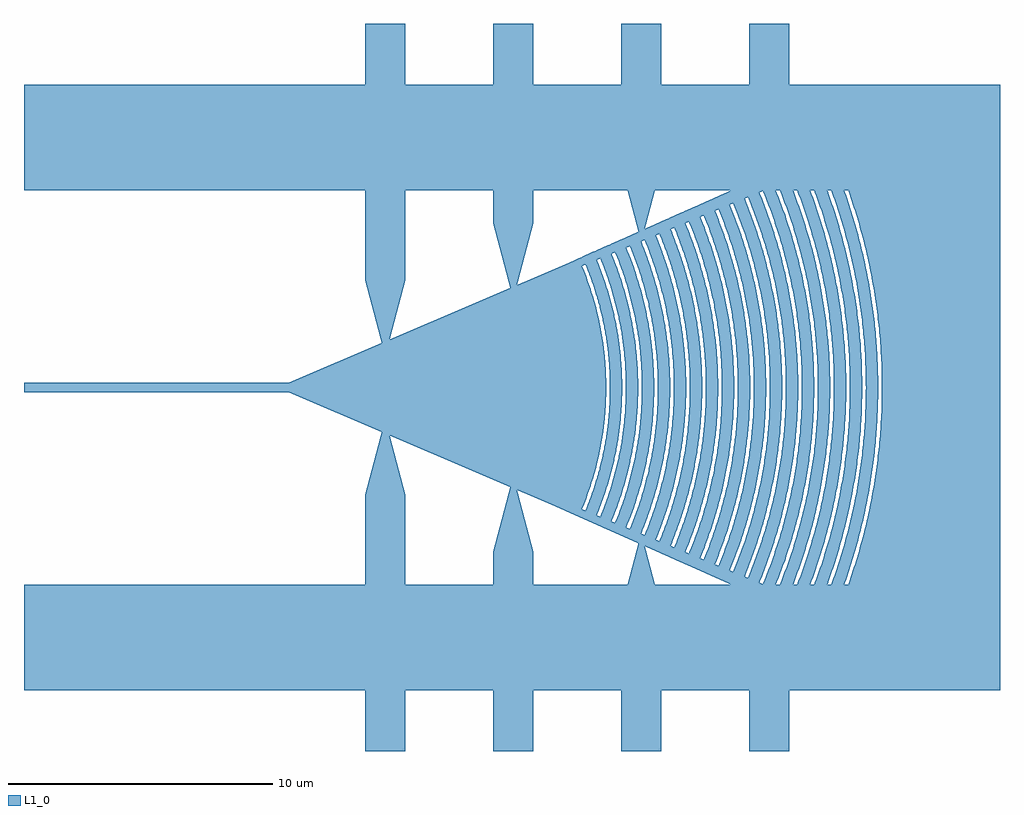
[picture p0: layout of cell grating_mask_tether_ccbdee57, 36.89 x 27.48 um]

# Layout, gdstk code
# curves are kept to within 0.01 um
import gdstk
lib = gdstk.Library(unit=1e-6, precision=2e-09)
def R(c, l, rs):  # rectangles x0, y0, x1, y1
    for r in rs: c.add(gdstk.rectangle(r[:2], r[2:], *l))
def P(c, l, *ps):  # polygons
    for p in ps: c.add(gdstk.Polygon(p, *l))
L1_0 = (1, 0)

boolean_2d772ac7 = lib.new_cell('boolean_2d772ac7')
P(boolean_2d772ac7, L1_0, [(17.126,-7.388),(17.528,-6.38),(17.806,-5.558),(18.072,-4.618),(18.31,-3.558),(18.456,-2.704),(18.582,-1.626),(18.648,-0.434),(18.648,0.434),(18.582,1.626),(18.456,2.704),(18.35,3.346),(18.222,3.984),(17.96,5.036),(17.74,5.764),(17.528,6.38),(17.1,7.446),(16.726,7.446),(16.62,7.4),(16.984,6.52),(17.27,5.722),(17.546,4.81),(17.796,3.782),(17.952,2.95),(18.058,2.218),(18.156,1.164),(18.188,0.424),(18.182,-0.634),(18.124,-1.586),(18.016,-2.532),(17.838,-3.576),(17.6,-4.606),(17.334,-5.522),(16.984,-6.52),(16.62,-7.4),(16.726,-7.446),(17.1,-7.446)],
  [(17.77,-7.42),(18.096,-6.586),(18.416,-5.63),(18.658,-4.768),(18.904,-3.674),(19.07,-2.68),(19.194,-1.566),(19.252,-0.448),(19.246,0.672),(19.218,1.232),(19.152,2.012),(19.002,3.124),(18.904,3.674),(18.764,4.332),(18.48,5.416),(18.134,6.48),(17.758,7.446),(17.26,7.446),(17.588,6.634),(17.878,5.808),(18.128,4.97),(18.364,4.016),(18.512,3.264),(18.658,2.29),(18.744,1.42),(18.79,0.546),(18.79,-0.546),(18.744,-1.42),(18.63,-2.508),(18.452,-3.586),(18.24,-4.548),(17.944,-5.6),(17.664,-6.43),(17.26,-7.446),(17.758,-7.446)],
  [(18.416,-7.44),(18.742,-6.576),(19.06,-5.586),(19.3,-4.692),(19.54,-3.562),(19.7,-2.536),(19.814,-1.386),(19.854,-0.578),(19.854,0.578),(19.776,1.846),(19.7,2.536),(19.618,3.108),(19.404,4.242),(19.124,5.364),(18.78,6.466),(18.416,7.44),(17.916,7.446),(18.194,6.742),(18.522,5.78),(18.798,4.804),(19.002,3.924),(19.146,3.146),(19.258,2.364),(19.338,1.578),(19.394,0.564),(19.4,-0.338),(19.338,-1.578),(19.244,-2.476),(19.088,-3.48),(18.88,-4.474),(18.682,-5.24),(18.346,-6.316),(18.114,-6.954),(17.916,-7.446)],
  [(19.064,-7.446),(19.352,-6.664),(19.674,-5.642),(19.942,-4.604),(20.156,-3.554),(20.314,-2.494),(20.408,-1.546),(20.464,-0.358),(20.458,0.596),(20.398,1.666),(20.268,2.848),(20.156,3.554),(20.02,4.256),(19.738,5.412),(19.428,6.438),(19.064,7.446),(18.57,7.446),(18.84,6.734),(19.2,5.626),(19.44,4.728),(19.594,4.046),(19.742,3.244),(19.872,2.322),(19.95,1.512),(20.002,0.466),(20.002,-0.466),(19.95,-1.512),(19.844,-2.554),(19.662,-3.704),(19.468,-4.614),(19.2,-5.626),(18.84,-6.734),(18.57,-7.446)],
  [(19.716,-7.436),(20.078,-6.394),(20.354,-5.454),(20.636,-4.26),(20.812,-3.296),(20.956,-2.202),(21.036,-1.226),(21.07,-0.246),(21.054,0.858),(21.02,1.47),(20.956,2.202),(20.812,3.296),(20.636,4.26),(20.504,4.86),(20.322,5.572),(20.04,6.512),(19.712,7.446),(19.22,7.446),(19.528,6.598),(19.814,5.682),(20,4.986),(20.21,4.05),(20.358,3.224),(20.486,2.274),(20.562,1.438),(20.606,0.48),(20.606,-0.48),(20.544,-1.676),(20.428,-2.75),(20.278,-3.698),(20.084,-4.636),(19.814,-5.682),(19.528,-6.598),(19.22,-7.446)],
  [(20.368,-7.414),(20.692,-6.458),(21.002,-5.366),(21.254,-4.26),(21.428,-3.266),(21.558,-2.266),(21.64,-1.26),(21.676,-0.126),(21.658,0.882),(21.624,1.512),(21.558,2.266),(21.428,3.266),(21.254,4.26),(21.092,4.998),(20.938,5.61),(20.654,6.578),(20.356,7.446),(19.866,7.446),(20.14,6.674),(20.428,5.73),(20.616,5.012),(20.802,4.17),(20.956,3.318),(21.058,2.586),(21.156,1.604),(21.204,0.74),(21.214,-0.37),(21.188,-1.11),(21.1,-2.218),(20.956,-3.318),(20.778,-4.29),(20.494,-5.492),(20.216,-6.438),(19.866,-7.446),(20.356,-7.446)],
  [(21.024,-7.376),(21.382,-6.266),(21.65,-5.264),(21.872,-4.252),(22.046,-3.23),(22.172,-2.2),(22.25,-1.166),(22.278,-0.388),(22.272,0.648),(22.196,1.942),(22.046,3.23),(21.92,3.996),(21.794,4.632),(21.522,5.766),(21.23,6.762),(21,7.446),(20.51,7.446),(20.714,6.864),(20.976,6.014),(21.204,5.156),(21.396,4.288),(21.572,3.288),(21.674,2.534),(21.768,1.522),(21.808,0.762),(21.82,-0.254),(21.792,-1.142),(21.702,-2.28),(21.572,-3.288),(21.396,-4.288),(21.142,-5.402),(20.868,-6.38),(20.51,-7.446),(21,-7.446)],
  [(21.162,7.424),(21.484,6.432),(21.728,5.552),(21.936,4.662),(22.108,3.766),(22.226,2.992),(22.352,1.824),(22.408,0.912),(22.426,-0.13),(22.408,-0.912),(22.352,-1.824),(22.226,-2.992),(22.086,-3.894),(21.88,-4.918),(21.662,-5.804),(21.408,-6.682),(21.154,-7.446),(22.886,-7.446),(22.886,7.446),(21.154,7.446)],
  [(16.53,-7.244),(16.886,-6.37),(17.196,-5.478),(17.46,-4.57),(17.654,-3.752),(17.826,-2.824),(17.96,-1.782),(18.028,-0.84),(18.048,0.106),(18.004,1.258),(17.938,1.99),(17.826,2.824),(17.654,3.752),(17.46,4.57),(17.132,5.676),(16.886,6.37),(16.488,7.34),(16.068,7.154),(16.42,6.302),(16.728,5.434),(16.962,4.65),(17.204,3.656),(17.372,2.752),(17.492,1.838),(17.564,0.92),(17.588,0.102),(17.564,-0.92),(17.492,-1.838),(17.372,-2.752),(17.204,-3.656),(16.962,-4.65),(16.728,-5.434),(16.42,-6.302),(16.068,-7.154),(16.488,-7.34)],
  [(15.976,-7.002),(16.32,-6.156),(16.62,-5.294),(16.9,-4.318),(17.082,-3.528),(17.244,-2.628),(17.368,-1.622),(17.424,-0.812),(17.442,0.202),(17.414,1.014),(17.348,1.824),(17.244,2.628),(17.062,3.626),(16.822,4.612),(16.558,5.486),(16.248,6.346),(15.934,7.094),(15.514,6.908),(15.856,6.086),(16.122,5.342),(16.326,4.682),(16.592,3.628),(16.726,2.95),(16.88,1.874),(16.96,0.888),(16.984,0),(16.96,-0.888),(16.88,-1.874),(16.726,-2.95),(16.592,-3.628),(16.326,-4.682),(16.122,-5.342),(15.856,-6.086),(15.514,-6.908),(15.934,-7.094)],
  [(15.422,-6.76),(15.72,-6.034),(16.074,-5.016),(16.29,-4.264),(16.51,-3.308),(16.646,-2.538),(16.766,-1.566),(16.82,-0.784),(16.838,0.098),(16.81,0.98),(16.736,1.858),(16.616,2.73),(16.45,3.596),(16.29,4.264),(15.984,5.296),(15.72,6.034),(15.382,6.848),(14.962,6.662),(15.222,6.048),(15.576,5.062),(15.796,4.332),(15.98,3.592),(16.13,2.844),(16.268,1.902),(16.332,1.238),(16.378,0.19),(16.372,-0.476),(16.308,-1.522),(16.22,-2.28),(16.06,-3.218),(15.892,-3.962),(15.606,-4.97),(15.358,-5.692),(14.962,-6.662),(15.382,-6.848)],
  [(14.868,-6.516),(15.222,-5.64),(15.468,-4.926),(15.752,-3.928),(15.898,-3.282),(16.034,-2.54),(16.154,-1.602),(16.216,-0.756),(16.234,0),(16.216,0.756),(16.154,1.602),(16.034,2.54),(15.898,3.282),(15.752,3.928),(15.468,4.926),(15.188,5.73),(14.83,6.602),(14.41,6.416),(14.66,5.824),(15.002,4.874),(15.212,4.172),(15.41,3.37),(15.55,2.648),(15.668,1.832),(15.742,1.008),(15.774,0.092),(15.752,-0.826),(15.688,-1.648),(15.58,-2.468),(15.448,-3.19),(15.306,-3.816),(15.058,-4.7),(14.726,-5.652),(14.41,-6.416),(14.83,-6.602)],
  [(14.314,-6.274),(14.558,-5.686),(14.892,-4.742),(15.12,-3.958),(15.324,-3.072),(15.464,-2.266),(15.552,-1.544),(15.612,-0.728),(15.628,0.182),(15.608,0.818),(15.534,1.724),(15.422,2.534),(15.268,3.338),(15.12,3.958),(14.836,4.916),(14.558,5.686),(14.278,6.356),(13.858,6.17),(14.162,5.436),(14.4,4.772),(14.606,4.096),(14.838,3.154),(14.996,2.286),(15.086,1.586),(15.144,0.882),(15.168,0.176),(15.16,-0.53),(15.104,-1.41),(14.996,-2.286),(14.856,-3.068),(14.652,-3.926),(14.4,-4.772),(14.162,-5.436),(13.858,-6.17),(14.278,-6.356)],
  [(13.76,-6.03),(14.026,-5.384),(14.316,-4.56),(14.556,-3.72),(14.714,-3.038),(14.866,-2.178),(14.942,-1.57),(15.004,-0.786),(15.024,0.088),(15.004,0.786),(14.942,1.57),(14.866,2.178),(14.678,3.208),(14.466,4.058),(14.262,4.726),(14.026,5.384),(13.724,6.11),(13.306,5.924),(13.628,5.14),(13.852,4.5),(14.046,3.852),(14.21,3.194),(14.358,2.446),(14.476,1.606),(14.54,0.846),(14.564,0.17),(14.556,-0.508),(14.502,-1.354),(14.398,-2.194),(14.264,-2.946),(14.09,-3.688),(13.878,-4.42),(13.628,-5.14),(13.306,-5.924),(13.724,-6.11)],
  [(13.206,-5.788),(13.462,-5.168),(13.714,-4.456),(13.95,-3.65),(14.122,-2.916),(14.242,-2.256),(14.34,-1.508),(14.404,-0.67),(14.418,0.168),(14.4,0.754),(14.34,1.508),(14.242,2.256),(14.122,2.916),(13.95,3.65),(13.714,4.456),(13.432,5.246),(13.172,5.864),(12.752,5.678),(12.974,5.154),(13.226,4.468),(13.462,3.692),(13.638,2.982),(13.788,2.184),(13.884,1.46),(13.936,0.812),(13.96,0.082),(13.944,-0.65),(13.884,-1.46),(13.788,-2.184),(13.672,-2.822),(13.484,-3.612),(13.302,-4.236),(13.062,-4.926),(12.752,-5.678),(13.172,-5.864)],
  [(12.652,-5.546),(12.926,-4.876),(13.114,-4.346),(13.344,-3.576),(13.528,-2.794),(13.68,-1.922),(13.762,-1.204),(13.8,-0.642),(13.814,0.16),(13.786,0.884),(13.712,1.684),(13.632,2.24),(13.496,2.95),(13.344,3.576),(13.114,4.346),(12.868,5.026),(12.62,5.618),(12.2,5.432),(12.496,4.714),(12.702,4.126),(12.88,3.532),(13.03,2.928),(13.166,2.242),(13.256,1.628),(13.328,0.854),(13.354,0.156),(13.344,-0.544),(13.304,-1.164),(13.236,-1.782),(13.11,-2.548),(12.92,-3.382),(12.702,-4.126),(12.496,-4.714),(12.2,-5.432),(12.62,-5.618)],
  [(12.098,-5.302),(12.36,-4.662),(12.564,-4.082),(12.818,-3.196),(12.952,-2.596),(13.07,-1.914),(13.138,-1.38),(13.196,-0.614),(13.21,0.076),(13.188,0.768),(13.138,1.38),(13.022,2.218),(12.904,2.822),(12.74,3.494),(12.54,4.156),(12.36,4.662),(12.068,5.372),(11.648,5.186),(11.904,4.57),(12.126,3.94),(12.316,3.3),(12.456,2.724),(12.582,2.068),(12.664,1.48),(12.724,0.816),(12.75,0.148),(12.74,-0.52),(12.702,-1.112),(12.616,-1.848),(12.502,-2.506),(12.354,-3.156),(12.172,-3.798),(11.904,-4.57),(11.648,-5.186),(12.068,-5.372)],
  [(11.544,-5.06),(11.82,-4.38),(12.076,-3.616),(12.266,-2.906),(12.374,-2.406),(12.472,-1.826),(12.544,-1.244),(12.592,-0.586),(12.604,0.146),(12.584,0.732),(12.52,1.464),(12.45,1.972),(12.33,2.62),(12.176,3.262),(11.988,3.896),(11.742,4.586),(11.516,5.126),(11.096,4.94),(11.314,4.418),(11.55,3.754),(11.732,3.144),(11.88,2.526),(11.996,1.9),(12.072,1.34),(12.116,0.848),(12.146,0.07),(12.136,-0.494),(12.072,-1.34),(11.996,-1.9),(11.88,-2.526),(11.732,-3.144),(11.55,-3.754),(11.314,-4.418),(11.096,-4.94),(11.516,-5.126)],
  [(-10,-0.176),(0,-0.176),(10.964,-4.882),(11.204,-4.3),(11.38,-3.808),(11.564,-3.208),(11.738,-2.496),(11.884,-1.67),(11.944,-1.15),(11.99,-0.524),(12,0.106),(11.978,0.732),(11.912,1.462),(11.836,1.98),(11.738,2.496),(11.564,3.208),(11.38,3.808),(11.204,4.3),(10.964,4.882),(0,0.176),(-10,0.176)])

ring_8f23896b_transform_ = lib.new_cell('ring_8f23896b_transform_af063da4')
P(ring_8f23896b_transform_, L1_0, [(20.906,-8.66),(0,0),(20.906,-9.308)],
  [(20.906,-9.308),(21.144,-8.758),(20.906,-8.66)])

c_ring_8f23896b_transform_ = lib.new_cell('ring_8f23896b_transform_62379c8f')
P(c_ring_8f23896b_transform_, L1_0, [(20.906,8.66),(20.906,9.308),(0,0)],
  [(21.144,8.758),(20.906,9.308),(20.906,8.66)])

c__tether_straight_length_ = lib.new_cell('_tether_straight_length_b0fe350f')
R(c__tether_straight_length_, L1_0, [(2.904,4.056,4.404,13.738)])
P(c__tether_straight_length_, L1_0, [(3.754,1.556),(4.404,4.056),(2.904,4.056),(3.554,1.556)])

c__tether_straight_length__ = lib.new_cell('_tether_straight_length_b050dfc1')
R(c__tether_straight_length__, L1_0, [(2.904,-13.738,4.404,-4.056)])
P(c__tether_straight_length__, L1_0, [(3.554,-1.556),(2.904,-4.056),(4.404,-4.056),(3.754,-1.556)])

c__tether_straight_length___ = lib.new_cell('_tether_straight_length_40aaaef4')
R(c__tether_straight_length___, L1_0, [(7.742,6.21,9.242,13.738)])
P(c__tether_straight_length___, L1_0, [(8.592,3.71),(9.242,6.21),(7.742,6.21),(8.392,3.71)])

c__tether_straight_length____ = lib.new_cell('_tether_straight_length_f74160cb')
R(c__tether_straight_length____, L1_0, [(7.742,-13.738,9.242,-6.21)])
P(c__tether_straight_length____, L1_0, [(8.392,-3.71),(7.742,-6.21),(9.242,-6.21),(8.592,-3.71)])

c__tether_straight_length_____ = lib.new_cell('_tether_straight_length_ef6a8238')
R(c__tether_straight_length_____, L1_0, [(12.578,8.364,14.078,13.738)])
P(c__tether_straight_length_____, L1_0, [(13.428,5.864),(14.078,8.364),(12.578,8.364),(13.228,5.864)])

c__tether_straight_length______ = lib.new_cell('_tether_straight_length_81b69ee8')
R(c__tether_straight_length______, L1_0, [(12.578,-13.738,14.078,-8.364)])
P(c__tether_straight_length______, L1_0, [(13.228,-5.864),(12.578,-8.364),(14.078,-8.364),(13.428,-5.864)])

c__tether_straight_length_______ = lib.new_cell('_tether_straight_length_57ae3556')
R(c__tether_straight_length_______, L1_0, [(17.416,10.518,18.916,13.738)])
P(c__tether_straight_length_______, L1_0, [(18.266,8.018),(18.916,10.518),(17.416,10.518),(18.066,8.018)])

c__tether_straight_length________ = lib.new_cell('_tether_straight_length_537d52a3')
R(c__tether_straight_length________, L1_0, [(17.416,-13.738,18.916,-10.518)])
P(c__tether_straight_length________, L1_0, [(18.066,-8.018),(17.416,-10.518),(18.916,-10.518),(18.266,-8.018)])

section_2skeleton_tethe_ = lib.new_cell('section_2skeleton_tethe_15beed75')
section_2skeleton_tethe_.add(gdstk.Reference(ring_8f23896b_transform_, (0,0)))
section_2skeleton_tethe_.add(gdstk.Reference(c_ring_8f23896b_transform_, (0,0)))
section_2skeleton_tethe_.add(gdstk.Reference(c__tether_straight_length_, (0,0)))
section_2skeleton_tethe_.add(gdstk.Reference(c__tether_straight_length__, (0,0)))
section_2skeleton_tethe_.add(gdstk.Reference(c__tether_straight_length___, (0,0)))
section_2skeleton_tethe_.add(gdstk.Reference(c__tether_straight_length____, (0,0)))
section_2skeleton_tethe_.add(gdstk.Reference(c__tether_straight_length_____, (0,0)))
section_2skeleton_tethe_.add(gdstk.Reference(c__tether_straight_length______, (0,0)))
section_2skeleton_tethe_.add(gdstk.Reference(c__tether_straight_length_______, (0,0)))
section_2skeleton_tethe_.add(gdstk.Reference(c__tether_straight_length________, (0,0)))

boolean_579dafa1 = lib.new_cell('boolean_579dafa1')
P(boolean_579dafa1, L1_0, [(26.886,-11.446),(26.886,11.446),(-10,11.446),(-10,7.446),(22.886,7.446),(22.886,-7.446),(-10,-7.446),(-10,-11.446)])

grating_mask_tether_ccbd = lib.new_cell('grating_mask_tether_ccbdee57')
grating_mask_tether_ccbd.add(gdstk.Reference(boolean_2d772ac7, (0,0)))
grating_mask_tether_ccbd.add(gdstk.Reference(section_2skeleton_tethe_, (0,0)))
grating_mask_tether_ccbd.add(gdstk.Reference(boolean_579dafa1, (0,0)))

lib.write_gds('grating_mask_tether_ccbdee57.gds')
